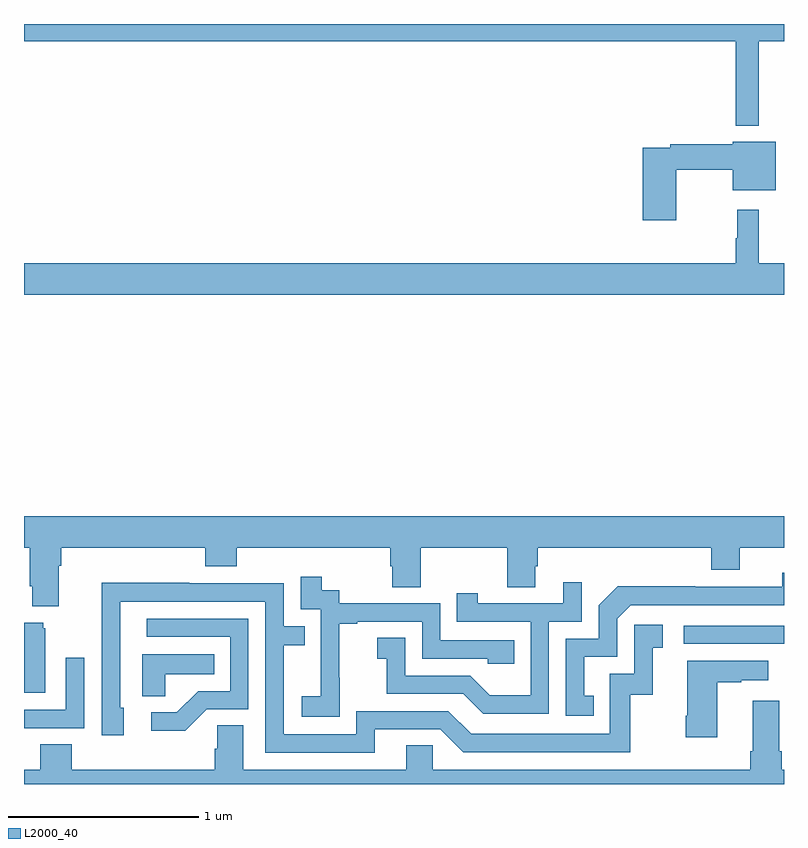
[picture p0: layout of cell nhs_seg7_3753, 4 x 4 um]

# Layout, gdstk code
import gdstk
lib = gdstk.Library(unit=1e-6, precision=1e-09)
def R(c, l, rs):  # rectangles x0, y0, x1, y1
    for r in rs: c.add(gdstk.rectangle(r[:2], r[2:], *l))
def P(c, l, *ps):  # polygons
    for p in ps: c.add(gdstk.Polygon(p, *l))
L2000_40 = (2000, 40)

nhs_seg7_3753 = lib.new_cell('nhs_seg7_3753')
R(nhs_seg7_3753, L2000_40, [(352.473,1038.738,353,1038.834)])
P(nhs_seg7_3753, L2000_40, [(352.867,1041.908),(353,1041.908),(353,1042),(349,1042),(349,1041.908),(352.746,1041.908),(352.746,1041.464),(352.867,1041.464)],
  [(352.434,1041.232),(352.73,1041.232),(352.73,1041.125),(352.957,1041.125),(352.957,1041.379),(352.73,1041.379),(352.73,1041.368),(352.402,1041.368),(352.402,1041.348),(352.256,1041.348),(352.256,1040.967),(352.434,1040.967)],
  [(353,1040.74),(352.867,1040.74),(352.867,1041.022),(352.753,1041.022),(352.753,1040.873),(352.746,1040.873),(352.746,1040.74),(349,1040.74),(349,1040.576),(353,1040.576)],
  [(349.183,1039.148),(349.196,1039.148),(349.196,1039.244),(349.955,1039.244),(349.955,1039.145),(350.12,1039.145),(350.12,1039.244),(350.927,1039.244),(350.927,1039.146),(350.939,1039.146),(350.939,1039.036),(351.087,1039.036),(351.087,1039.244),(351.544,1039.244),(351.544,1039.036),(351.691,1039.036),(351.691,1039.146),(351.704,1039.146),(351.704,1039.244),(352.616,1039.244),(352.616,1039.127),(352.768,1039.127),(352.768,1039.244),(353,1039.244),(353,1039.408),(349,1039.408),(349,1039.244),(349.031,1039.244),(349.031,1039.042),(349.043,1039.042),(349.043,1038.935),(349.183,1038.935)],
  [(351.998,1038.465),(351.949,1038.465),(351.949,1038.669),(352.122,1038.669),(352.122,1038.87),(352.194,1038.942),(353,1038.942),(353,1039.111),(352.992,1039.111),(352.992,1039.038),(352.532,1039.038),(352.532,1039.04),(352.124,1039.04),(352.026,1038.942),(352.026,1038.765),(351.852,1038.765),(351.852,1038.36),(351.998,1038.36)],
  [(350.661,1038.559),(350.66,1038.559),(350.66,1038.843),(350.755,1038.843),(350.755,1038.855),(351.096,1038.855),(351.096,1038.66),(351.441,1038.66),(351.441,1038.633),(351.581,1038.633),(351.581,1038.756),(351.192,1038.756),(351.192,1038.951),(350.658,1038.951),(350.658,1039.02),(350.566,1039.02),(350.566,1039.09),(350.457,1039.09),(350.457,1038.921),(350.562,1038.921),(350.562,1038.692),(350.561,1038.692),(350.561,1038.463),(350.463,1038.463),(350.463,1038.353),(350.661,1038.353)],
  [(351.762,1038.855),(351.936,1038.855),(351.936,1039.063),(351.839,1039.063),(351.839,1038.951),(351.388,1038.951),(351.388,1039.003),(351.277,1039.003),(351.277,1038.855),(351.666,1038.855),(351.666,1038.466),(351.452,1038.466),(351.348,1038.57),(351.006,1038.57),(351.006,1038.769),(350.859,1038.769),(350.859,1038.659),(350.908,1038.659),(350.908,1038.474),(351.311,1038.474),(351.416,1038.369),(351.762,1038.369)],
  [(350.845,1038.288),(351.192,1038.288),(351.312,1038.168),(352.192,1038.168),(352.192,1038.471),(352.31,1038.471),(352.31,1038.717),(352.363,1038.717),(352.363,1038.838),(352.212,1038.838),(352.212,1038.579),(352.083,1038.579),(352.083,1038.264),(351.354,1038.264),(351.234,1038.384),(350.748,1038.384),(350.748,1038.261),(350.367,1038.261),(350.367,1038.73),(350.477,1038.73),(350.477,1038.831),(350.367,1038.831),(350.367,1039.056),(349.871,1039.056),(349.871,1039.058),(349.408,1039.058),(349.408,1038.751),(349.41,1038.751),(349.41,1038.257),(349.525,1038.257),(349.525,1038.402),(349.506,1038.402),(349.506,1038.96),(350.271,1038.96),(350.271,1038.165),(350.845,1038.165)],
  [(349.962,1038.393),(350.181,1038.393),(350.181,1038.87),(349.647,1038.87),(349.647,1038.774),(350.085,1038.774),(350.085,1038.489),(349.916,1038.489),(349.805,1038.378),(349.671,1038.378),(349.671,1038.281),(349.849,1038.281)],
  [(349.111,1038.819),(349.1,1038.819),(349.1,1038.85),(349,1038.85),(349,1038.479),(349.111,1038.479)],
  [(349.743,1038.578),(350,1038.578),(350,1038.682),(349.622,1038.682),(349.622,1038.463),(349.743,1038.463)],
  [(349.001,1038.294),(349.317,1038.294),(349.317,1038.664),(349.221,1038.664),(349.221,1038.39),(349,1038.39),(349,1038.293),(349.001,1038.293)],
  [(352.648,1038.535),(352.775,1038.535),(352.775,1038.545),(352.918,1038.545),(352.918,1038.649),(352.49,1038.649),(352.49,1038.358),(352.483,1038.358),(352.483,1038.246),(352.648,1038.246)],
  [(353,1038.076),(352.988,1038.076),(352.988,1038.172),(352.975,1038.172),(352.975,1038.439),(352.835,1038.439),(352.835,1038.172),(352.823,1038.172),(352.823,1038.076),(351.15,1038.076),(351.15,1038.203),(351.011,1038.203),(351.011,1038.076),(350.155,1038.076),(350.155,1038.308),(350.016,1038.308),(350.016,1038.185),(350.003,1038.185),(350.003,1038.076),(349.25,1038.076),(349.25,1038.209),(349.085,1038.209),(349.085,1038.076),(349,1038.076),(349,1038),(353,1038)])

lib.write_gds('nhs_seg7_3753.gds')
